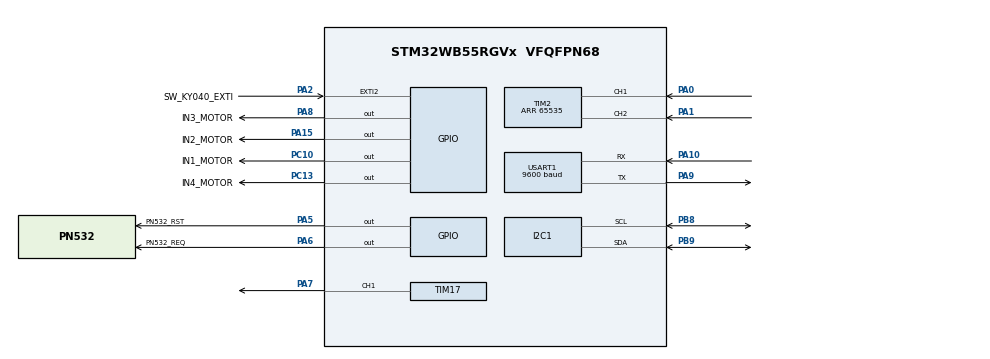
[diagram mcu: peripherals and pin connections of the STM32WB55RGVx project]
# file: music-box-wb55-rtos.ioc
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Dma.Request0=TIM17_CH1
Dma.TIM17_CH1.0.Direction=DMA_MEMORY_TO_PERIPH
Dma.TIM17_CH1.0.EventEnable=DISABLE
Dma.TIM17_CH1.0.Instance=DMA1_Channel1
Dma.TIM17_CH1.0.MemDataAlignment=DMA_MDATAALIGN_HALFWORD
Dma.TIM17_CH1.0.MemInc=DMA_MINC_ENABLE
Dma.TIM17_CH1.0.Mode=DMA_NORMAL
Dma.TIM17_CH1.0.PeriphDataAlignment=DMA_PDATAALIGN_HALFWORD
Dma.TIM17_CH1.0.PeriphInc=DMA_PINC_DISABLE
Dma.TIM17_CH1.0.Polarity=HAL_DMAMUX_REQ_GEN_RISING
Dma.TIM17_CH1.0.Priority=DMA_PRIORITY_LOW
Dma.TIM17_CH1.0.RequestNumber=1
Dma.TIM17_CH1.0.SignalID=NONE
Dma.TIM17_CH1.0.SyncEnable=DISABLE
Dma.TIM17_CH1.0.SyncPolarity=HAL_DMAMUX_SYNC_NO_EVENT
Dma.TIM17_CH1.0.SyncRequestNumber=1
Dma.TIM17_CH1.0.SyncSignalID=NONE
FREERTOS.BinarySemaphores01=pause_sem,Dynamic,NULL,Available
FREERTOS.Mutexes01=i2c_mutex,Dynamic,NULL,Available
FREERTOS.Tasks01=defaultTask,0,128,StartDefaultTask,Default,NULL,Dynamic,NULL,NULL;TaskMotor,1,128,StartTaskMotor,Default,NULL,Dynamic,NULL,NULL;TaskRFID,0,256,StartTaskRFID,Default,NULL,Dynamic,NULL,NULL;TaskEncoder,0,128,StartTaskEncoder,Default,NULL,Dynamic,NULL,NULL;TaskPlayer,0,256,StartTaskPlayer,Default,NULL,Dynamic,NULL,NULL;TaskDisplay,-2,256,StartTaskDisplay,Default,NULL,Dynamic,NULL,NULL
FREERTOS.configTOTAL_HEAP_SIZE=12000
FREERTOS.configUSE_NEWLIB_REENTRANT=1
I2C1.Timing=0x00B07CB4
Mcu.Family=STM32WB
Mcu.Name=STM32WB55RGVx
Mcu.Package=VFQFPN68
NVIC.DMA1_Channel1_IRQn=true\:5\:0\:false\:false\:true\:true\:false\:true\:true
NVIC.EXTI2_IRQn=true\:5\:0\:false\:false\:true\:true\:true\:true\:true
NVIC.PriorityGroup=NVIC_PRIORITYGROUP_4
NVIC.TIM1_UP_TIM16_IRQn=true\:15\:0\:false\:false\:true\:false\:false\:true\:true
NVIC.TimeBase=TIM1_UP_TIM16_IRQn
NVIC.TimeBaseIP=TIM16
PA0.Signal=S_TIM2_CH1
PA1.Signal=S_TIM2_CH2
PA10.Mode=Asynchronous
PA10.Signal=USART1_RX
PA13.Mode=Serial_Wire
PA13.Signal=SYS_JTMS-SWDIO
PA14.Mode=Serial_Wire
PA14.Signal=SYS_JTCK-SWCLK
PA15.GPIO_Label=IN2_MOTOR
PA15.Signal=GPIO_Output
PA2.GPIO_Label=SW_KY040_EXTI
PA2.Signal=GPXTI2
PA5.GPIO_Label=PN532_RST
PA5.Signal=GPIO_Output
PA6.GPIO_Label=PN532_REQ
PA6.Signal=GPIO_Output
PA7.Signal=S_TIM17_CH1
PA8.GPIO_Label=IN3_MOTOR
PA8.Signal=GPIO_Output
PA9.Mode=Asynchronous
PA9.Signal=USART1_TX
PB8.Mode=I2C
PB8.Signal=I2C1_SCL
PB9.Mode=I2C
PB9.Signal=I2C1_SDA
PC10.GPIO_Label=IN1_MOTOR
PC10.Signal=GPIO_Output
PC13.GPIO_Label=IN4_MOTOR
PC13.Signal=GPIO_Output
ProjectManager.HeapSize=0x200
ProjectManager.StackSize=0x400
ProjectManager.TargetToolchain=STM32CubeIDE
RCC.ADCFreq_Value=128000000
RCC.AHBFreq_Value=32000000
RCC.APB1Freq_Value=32000000
RCC.APB1TimFreq_Value=32000000
RCC.APB2Freq_Value=32000000
RCC.APB2TimFreq_Value=32000000
RCC.APB3Freq_Value=16000000
RCC.CortexFreq_Value=32000000
RCC.HCLKFreq_Value=32000000
RCC.HSE_VALUE=32000000
RCC.HSI48_VALUE=48000000
RCC.HSI_VALUE=16000000
RCC.LSE_VALUE=32768
RCC.MSIClockRange=RCC_MSIRANGE_10
RCC.SMPSCLockSelection=RCC_SMPSCLKSOURCE_HSI
RCC.SMPSCLockSelectionVirtual=RCC_SMPSCLKSOURCE_HSI
RCC.SMPSCLockSelectionVirtualVirtual=RCC_SMPSCLKSOURCE_HSI
RCC.SMPSDivider=1
RCC.SYSCLKFreq_VALUE=32000000
RCC.USBFreq_Value=128000000
RCC.VCOOutputFreq_Value=256000000
SH.S_TIM17_CH1.0=TIM17_CH1,PWM Generation1 CH1
SH.S_TIM2_CH1.0=TIM2_CH1,Encoder_Interface
SH.S_TIM2_CH2.0=TIM2_CH2,Encoder_Interface
TIM17.Channel=TIM_CHANNEL_1
TIM17.Period=40
TIM2.Period=65535
USART1.BaudRate=9600
USART1.VirtualMode-Asynchronous=VM_ASYNC
VP_FREERTOS_VS_CMSIS_V1.Mode=CMSIS_V1
VP_MEMORYMAP_VS_MEMORYMAP.Mode=CurAppReg
VP_SYS_VS_tim16.Mode=TIM16
VP_TIM17_VS_ClockSourceINT.Mode=Enable_Timer
board=NUCLEO-WB55RG

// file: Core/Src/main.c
/* USER CODE BEGIN Header */
/**
 ******************************************************************************
 * @file           : main.c
 * @brief          : Main program body
 ******************************************************************************
 * @attention
 *
 * Copyright (c) 2026 STMicroelectronics.
 * All rights reserved.
 *
 * This software is licensed under terms that can be found in the LICENSE file
 * in the root directory of this software component.
 * If no LICENSE file comes with this software, it is provided AS-IS.
 *
 ******************************************************************************
 */
/* USER CODE END Header */
#include "main.h"
#include "cmsis_os.h"
#include "dma.h"
#include "i2c.h"
#include "tim.h"
#include "usart.h"
#include "gpio.h"

/* USER CODE BEGIN Includes */
#include "pn532_stm32f1.h"
#include "df_player.h"
#include "ssd1306.h"
#include "ws2812b.h"
/* USER CODE END Includes */

/* USER CODE BEGIN PV */
PN532 pn532;
/* USER CODE END PV */

void SystemClock_Config(void);
void PeriphCommonClock_Config(void);
void MX_FREERTOS_Init(void);

int main(void)
{

  /* MCU Configuration--------------------------------------------------------*/

  /* Reset of all peripherals, Initializes the Flash interface and the Systick. */
  HAL_Init();

  /* Configure the system clock */
  SystemClock_Config();

  /* Configure the peripherals common clocks */
  PeriphCommonClock_Config();

  /* Initialize all configured peripherals */
  MX_GPIO_Init();
  MX_DMA_Init();
  MX_I2C1_Init();
  MX_TIM2_Init();
  MX_USART1_UART_Init();
  MX_TIM17_Init();
  /* USER CODE BEGIN 2 */
	SSD1306_Init();
	SSD1306_Clear();
	SSD1306_WriteString("Waiting...");
	SSD1306_UpdateScreen();

	PN532_I2C_Init(&pn532);
	uint8_t buff[255];
	PN532_GetFirmwareVersion(&pn532, buff);
	PN532_SamConfiguration(&pn532);

	dfplayer_Init();
	dfplayer_SetVolume(1);
	dfplayer_SetSource(PLAYBACK_SOURCE_TF);

	WS2812B_Init();

	HAL_TIM_Encoder_Start(&htim2, TIM_CHANNEL_ALL);
  /* USER CODE END 2 */

  /* Call init function for freertos objects (in cmsis_os2.c) */
  MX_FREERTOS_Init();

  /* Start scheduler */
  osKernelStart();

  /* We should never get here as control is now taken by the scheduler */

  /* Infinite loop */
	while (1)
	{

	}
}

void SystemClock_Config(void)
{
  RCC_OscInitTypeDef RCC_OscInitStruct = {0};
  RCC_ClkInitTypeDef RCC_ClkInitStruct = {0};

  /** Configure the main internal regulator output voltage
  */
  __HAL_PWR_VOLTAGESCALING_CONFIG(PWR_REGULATOR_VOLTAGE_SCALE1);

  /** Initializes the RCC Oscillators according to the specified parameters
  * in the RCC_OscInitTypeDef structure.
  */
  RCC_OscInitStruct.OscillatorType = RCC_OSCILLATORTYPE_HSI|RCC_OSCILLATORTYPE_MSI;
  RCC_OscInitStruct.HSIState = RCC_HSI_ON;
  RCC_OscInitStruct.MSIState = RCC_MSI_ON;
  RCC_OscInitStruct.HSICalibrationValue = RCC_HSICALIBRATION_DEFAULT;
  RCC_OscInitStruct.MSICalibrationValue = RCC_MSICALIBRATION_DEFAULT;
  RCC_OscInitStruct.MSIClockRange = RCC_MSIRANGE_10;
  RCC_OscInitStruct.PLL.PLLState = RCC_PLL_NONE;
  if (HAL_RCC_OscConfig(&RCC_OscInitStruct) != HAL_OK)
  {
    Error_Handler();
  }

  /** Configure the SYSCLKSource, HCLK, PCLK1 and PCLK2 clocks dividers
  */
  RCC_ClkInitStruct.ClockType = RCC_CLOCKTYPE_HCLK4|RCC_CLOCKTYPE_HCLK2
                              |RCC_CLOCKTYPE_HCLK|RCC_CLOCKTYPE_SYSCLK
                              |RCC_CLOCKTYPE_PCLK1|RCC_CLOCKTYPE_PCLK2;
  RCC_ClkInitStruct.SYSCLKSource = RCC_SYSCLKSOURCE_MSI;
  RCC_ClkInitStruct.AHBCLKDivider = RCC_SYSCLK_DIV1;
  RCC_ClkInitStruct.APB1CLKDivider = RCC_HCLK_DIV1;
  RCC_ClkInitStruct.APB2CLKDivider = RCC_HCLK_DIV1;
  RCC_ClkInitStruct.AHBCLK2Divider = RCC_SYSCLK_DIV1;
  RCC_ClkInitStruct.AHBCLK4Divider = RCC_SYSCLK_DIV1;

  if (HAL_RCC_ClockConfig(&RCC_ClkInitStruct, FLASH_LATENCY_1) != HAL_OK)
  {
    Error_Handler();
  }
}

void PeriphCommonClock_Config(void)
{
  RCC_PeriphCLKInitTypeDef PeriphClkInitStruct = {0};

  /** Initializes the peripherals clock
  */
  PeriphClkInitStruct.PeriphClockSelection = RCC_PERIPHCLK_SMPS;
  PeriphClkInitStruct.SmpsClockSelection = RCC_SMPSCLKSOURCE_HSI;
  PeriphClkInitStruct.SmpsDivSelection = RCC_SMPSCLKDIV_RANGE0;

  if (HAL_RCCEx_PeriphCLKConfig(&PeriphClkInitStruct) != HAL_OK)
  {
    Error_Handler();
  }
}

void HAL_TIM_PeriodElapsedCallback(TIM_HandleTypeDef *htim)
{
  if (htim->Instance == TIM16)
  {
    HAL_IncTick();
  }
}

void Error_Handler(void)
{
	__disable_irq();
	while (1)
	{
	}
}

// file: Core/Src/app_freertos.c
/* USER CODE BEGIN Header */
/**
 ******************************************************************************
 * File Name          : app_freertos.c
 * Description        : Code for freertos applications
 ******************************************************************************
 * @attention
 *
 * Copyright (c) 2026 STMicroelectronics.
 * All rights reserved.
 *
 * This software is licensed under terms that can be found in the LICENSE file
 * in the root directory of this software component.
 * If no LICENSE file comes with this software, it is provided AS-IS.
 *
 ******************************************************************************
 */
/* USER CODE END Header */

#include "FreeRTOS.h"
#include "task.h"
#include "main.h"
#include "cmsis_os.h"

/* USER CODE BEGIN Includes */
#include "pn532_stm32f1.h"
#include "df_player.h"
#include "ssd1306.h"
#include "stepper.h"
#include <string.h>
#include <stdio.h>
#include "ws2812b.h"
/* USER CODE END Includes */

/* USER CODE BEGIN PD */
#define TAG_1 0x53c49bf6630001
#define TAG_2 0x53539af6630001
/* USER CODE END PD */

/* USER CODE BEGIN Variables */
typedef struct {
	uint64_t uid;
	int8_t   track_number;
} rfid_msg_t;

typedef struct {
	char    track_name[32];
	uint8_t volume;
	uint8_t is_paused;
	uint8_t motor_running;
} display_msg_t;

extern PN532 pn532;
uint8_t volume = 5;

osMessageQId RFID_QueueHandle;
osMessageQId Encoder_QueueHandle;
osMessageQId Display_QueueHandle;

SemaphoreHandle_t motor_start_semHandle;
SemaphoreHandle_t motor_stop_semHandle;

extern TIM_HandleTypeDef htim2;
/* USER CODE END Variables */
osThreadId defaultTaskHandle;
osThreadId TaskMotorHandle;
osThreadId TaskRFIDHandle;
osThreadId TaskEncoderHandle;
osThreadId TaskPlayerHandle;
osThreadId TaskDisplayHandle;
osMutexId i2c_mutexHandle;
osSemaphoreId pause_semHandle;

void StartDefaultTask(void const * argument);
void StartTaskMotor(void const * argument);
void StartTaskRFID(void const * argument);
void StartTaskEncoder(void const * argument);
void StartTaskPlayer(void const * argument);
void StartTaskDisplay(void const * argument);

void MX_FREERTOS_Init(void); /* (MISRA C 2004 rule 8.1) */

void MX_FREERTOS_Init(void) {
  /* Create the mutex(es) */
  /* definition and creation of i2c_mutex */
  osMutexDef(i2c_mutex);
  i2c_mutexHandle = osMutexCreate(osMutex(i2c_mutex));

  /* Create the semaphores(s) */
  /* definition and creation of pause_sem */
  osSemaphoreDef(pause_sem);
  pause_semHandle = osSemaphoreCreate(osSemaphore(pause_sem), 1);

  /* USER CODE BEGIN RTOS_SEMAPHORES */
	motor_start_semHandle = xSemaphoreCreateBinary();
	motor_stop_semHandle = xSemaphoreCreateBinary();
  /* USER CODE END RTOS_SEMAPHORES */

  /* USER CODE BEGIN RTOS_QUEUES */
	RFID_QueueHandle = xQueueCreate(1, sizeof(rfid_msg_t));
	Encoder_QueueHandle = xQueueCreate(4, sizeof(int8_t));
	Display_QueueHandle = xQueueCreate(2, sizeof(display_msg_t));
  /* USER CODE END RTOS_QUEUES */

  /* Create the thread(s) */
  /* definition and creation of defaultTask */
  osThreadDef(defaultTask, StartDefaultTask, osPriorityNormal, 0, 128);
  defaultTaskHandle = osThreadCreate(osThread(defaultTask), NULL);

  /* definition and creation of TaskMotor */
  osThreadDef(TaskMotor, StartTaskMotor, osPriorityAboveNormal, 0, 128);
  TaskMotorHandle = osThreadCreate(osThread(TaskMotor), NULL);

  /* definition and creation of TaskRFID */
  osThreadDef(TaskRFID, StartTaskRFID, osPriorityNormal, 0, 256);
  TaskRFIDHandle = osThreadCreate(osThread(TaskRFID), NULL);

  /* definition and creation of TaskEncoder */
  osThreadDef(TaskEncoder, StartTaskEncoder, osPriorityNormal, 0, 128);
  TaskEncoderHandle = osThreadCreate(osThread(TaskEncoder), NULL);

  /* definition and creation of TaskPlayer */
  osThreadDef(TaskPlayer, StartTaskPlayer, osPriorityNormal, 0, 256);
  TaskPlayerHandle = osThreadCreate(osThread(TaskPlayer), NULL);

  /* definition and creation of TaskDisplay */
  osThreadDef(TaskDisplay, StartTaskDisplay, osPriorityLow, 0, 256);
  TaskDisplayHandle = osThreadCreate(osThread(TaskDisplay), NULL);

}

void StartDefaultTask(void const * argument)
{
	for(;;)
	{
		osDelay(1);
	}
}

void StartTaskMotor(void const * argument)
{
  /* USER CODE BEGIN StartTaskMotor */
	/* Infinite loop */
	for(;;)
	{
		/* Block until Player signals motor to start */
		osSemaphoreWait(motor_start_semHandle, osWaitForever);

		/* Clear any pending stop signal */
		xSemaphoreTake(motor_stop_semHandle, 0);

		for (;;)
		{
			stepper_Step(true);
			osDelay(1);

			/* Non-blocking check for stop signal from Player */
			if (osSemaphoreWait(motor_stop_semHandle, 0) == osOK)
				break;
		}

		/* De-energize all coils to save power */
		stepper_Stop();

	    /* Clear any pending start signal that arrived during stop */
	    xSemaphoreTake(motor_start_semHandle, 0);
	}
  /* USER CODE END StartTaskMotor */
}

void StartTaskRFID(void const * argument)
{
  /* USER CODE BEGIN StartTaskRFID */
	uint8_t uid[MIFARE_UID_MAX_LENGTH];
	int32_t uid_len = 0;
	bool tag_was_present = false;
	static uint64_t last_tag_id = 0;

	/* Initialize PN532 */
	osMutexWait(i2c_mutexHandle, osWaitForever);
	PN532_GetFirmwareVersion(&pn532, uid); /* reuse uid buffer temporarily */
	PN532_SamConfiguration(&pn532);
	osMutexRelease(i2c_mutexHandle);
	/* Infinite loop */
	for(;;)
	{
		osMutexWait(i2c_mutexHandle, osWaitForever);
	    uid_len = PN532_ReadPassiveTarget(&pn532, uid, PN532_MIFARE_ISO14443A, 100);
	    osMutexRelease(i2c_mutexHandle);

	    if (uid_len > 0)
	    {
	        uint64_t current_id = uid_to_u64(uid, uid_len);

	        if (current_id != last_tag_id)
	        {
	            last_tag_id = current_id;

	            rfid_msg_t msg;
	            msg.uid = current_id;

	            if (current_id == TAG_1)      msg.track_number = 1;
	            else if (current_id == TAG_2) msg.track_number = 2;
	            else                          msg.track_number = -1;

	            xQueueOverwrite(RFID_QueueHandle, &msg);
	            last_tag_id = 0;
	        }
	    }

	    osDelay(50);
	}
  /* USER CODE END StartTaskRFID */
}

void StartTaskEncoder(void const * argument)
{
  /* USER CODE BEGIN StartTaskEncoder */
	static int32_t last_count = 0;
	int32_t count = 0;
	int32_t diff = 0;
	int8_t delta = 0;
	/* Infinite loop */
	for(;;)
	{
		count = (int32_t)(uint16_t)__HAL_TIM_GET_COUNTER(&htim2);
		diff = count - last_count;

		/* Handle counter overflow/underflow */
		if (diff > 32767)  diff -= 65536;
		if (diff < -32767) diff += 65536;

		if (diff >= 2)
		{
			delta = 1;
			xQueueSend(Encoder_QueueHandle, &delta, 0);
			last_count = count;
		}
		else if (diff <= -2)
		{
			delta = -1;
			xQueueSend(Encoder_QueueHandle, &delta, 0);
			last_count = count;
		}

		osDelay(1);
	}
  /* USER CODE END StartTaskEncoder */
}

void StartTaskPlayer(void const * argument)
{
  /* USER CODE BEGIN StartTaskPlayer */
	rfid_msg_t rfid_msg;
	int8_t encoder_delta = 0;
	bool is_paused = false;
	int8_t current_track = -1;

	/* Initialize DFPlayer */

	/* Infinite loop */
	for(;;)
	{
        /* Check for new RFID event */
        if (xQueueReceive(RFID_QueueHandle, &rfid_msg, 0) == pdTRUE)
        {
            if (rfid_msg.track_number >= 0)
            {
                /* New tag placed - start playback */
                current_track = rfid_msg.track_number;
                is_paused = false;

                dfplayer_SetTrakNumber(current_track);

                /* Clear pending stop signal before starting motor */
                xSemaphoreTake(motor_stop_semHandle, 0);
                osSemaphoreRelease(motor_start_semHandle);

                display_msg_t disp;
                disp.volume = volume;
                disp.is_paused = 0;
                disp.motor_running = 1;

                if (current_track == 1)
                    strncpy(disp.track_name, "BTS - Spine Breaker", 32);
                else if (current_track == 2)
                    strncpy(disp.track_name, "J-Hope - Arson", 32);
                else
                    strncpy(disp.track_name, "Unknown", 32);

                xQueueSend(Display_QueueHandle, &disp, 0);
            }
            else
            {
                /* Tag removed - stop playback and motor */
                current_track = -1;
                is_paused = false;

                dfplayer_Stop();
                osSemaphoreRelease(motor_stop_semHandle);

                display_msg_t disp;
                disp.volume = volume;
                disp.is_paused = 0;
                disp.motor_running = 0;
                strncpy(disp.track_name, "Waiting...", 32);
                xQueueSend(Display_QueueHandle, &disp, 0);
            }
        }

        /* Drain all encoder messages and update volume once */
        bool volume_changed = false;
        while (xQueueReceive(Encoder_QueueHandle, &encoder_delta, 0) == pdTRUE)
        {
            if (encoder_delta > 0 && volume < 30) volume++;
            if (encoder_delta < 0 && volume > 0)  volume--;
            volume_changed = true;
        }

        if (volume_changed)
        {
            dfplayer_SetVolume(volume);

            display_msg_t disp;
            disp.volume = volume;
            disp.is_paused = is_paused;
            disp.motor_running = (current_track >= 0);
            if (current_track == 1)
                strncpy(disp.track_name, "BTS - Spine Breaker", 32);
            else if (current_track == 2)
                strncpy(disp.track_name, "J-Hope - Arson", 32);
            else
                strncpy(disp.track_name, "Waiting...", 32);

            xQueueSend(Display_QueueHandle, &disp, 0);
        }

        /* Check for pause semaphore from EXTI */
        if (osSemaphoreWait(pause_semHandle, 0) == osOK)
        {
            if (current_track >= 0)
            {
                is_paused = !is_paused;

                if (is_paused)
                {
                    dfplayer_Pause();
                    osSemaphoreRelease(motor_stop_semHandle);
                }
                else
                {
                    dfplayer_Play();
                    xSemaphoreTake(motor_stop_semHandle, 0);
                    osSemaphoreRelease(motor_start_semHandle);
                }

                display_msg_t disp;
                disp.volume = volume;
                disp.is_paused = is_paused;
                disp.motor_running = !is_paused;
                if (current_track == 1)
                    strncpy(disp.track_name, "BTS - Spine Breaker", 32);
                else if (current_track == 2)
                    strncpy(disp.track_name, "J-Hope - Arson", 32);
                else
                    strncpy(disp.track_name, "Waiting...", 32);

                xQueueSend(Display_QueueHandle, &disp, 0);
            }
        }

        osDelay(10);
	}
  /* USER CODE END StartTaskPlayer */
}

void StartTaskDisplay(void const * argument)
{
  /* USER CODE BEGIN StartTaskDisplay */
	display_msg_t msg;
	/* Infinite loop */
	for(;;)
	{
		/* Block until Player sends a display update */
		if (xQueueReceive(Display_QueueHandle, &msg, osWaitForever) == pdTRUE)
		{
			osMutexWait(i2c_mutexHandle, osWaitForever);

			SSD1306_Clear();

			SSD1306_SetCursor(0, 0);
			SSD1306_WriteString(msg.track_name);

			char status[22];
			sprintf(status, "Vol:%02d %s", msg.volume,
			        msg.is_paused ? "Paused " : "Playing");
			SSD1306_SetCursor(0, 16);
			SSD1306_WriteString(status);

			SSD1306_UpdateScreen();

			osMutexRelease(i2c_mutexHandle);

			if (msg.motor_running && !msg.is_paused)
			{
			    /* Playing - full brightness */
			    WS2812B_Fill(255, 0, 128);
			}
			else if (!msg.motor_running && msg.is_paused)
			{
			    /* Paused - dim */
				WS2812B_Fill(60, 0, 30);
			}
			else
			{
			    /* Stopped - off */
			    WS2812B_Clear();
			}
			WS2812B_Show();
		}
	}
  /* USER CODE END StartTaskDisplay */
}

/* USER CODE BEGIN Application */
void HAL_GPIO_EXTI_Callback(uint16_t GPIO_Pin) {
	if (GPIO_Pin == GPIO_PIN_2) {
		osSemaphoreRelease(pause_semHandle);
	}
}
/* USER CODE END Application */
